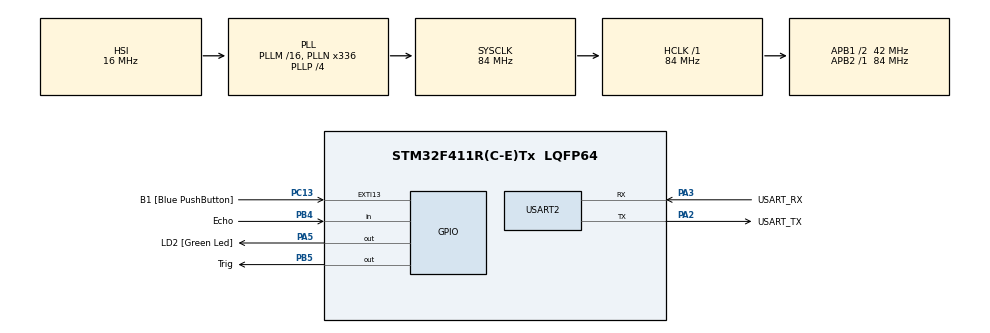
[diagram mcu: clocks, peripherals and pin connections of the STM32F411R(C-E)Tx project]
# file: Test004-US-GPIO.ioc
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Mcu.Family=STM32F4
Mcu.Name=STM32F411R(C-E)Tx
Mcu.Package=LQFP64
NVIC.PriorityGroup=NVIC_PRIORITYGROUP_0
PA13.GPIO_Label=TMS
PA13.Mode=Serial_Wire
PA13.Signal=SYS_JTMS-SWDIO
PA14.GPIO_Label=TCK
PA14.Mode=Serial_Wire
PA14.Signal=SYS_JTCK-SWCLK
PA2.GPIO_Label=USART_TX
PA2.Mode=Asynchronous
PA2.Signal=USART2_TX
PA3.GPIO_Label=USART_RX
PA3.Mode=Asynchronous
PA3.Signal=USART2_RX
PA5.GPIO_Label=LD2 [Green Led]
PA5.Signal=GPIO_Output
PB3.GPIO_Label=SWO
PB3.Signal=SYS_JTDO-SWO
PB4.GPIO_Label=Echo
PB4.Signal=GPIO_Input
PB5.GPIO_Label=Trig
PB5.Signal=GPIO_Output
PC13-ANTI_TAMP.GPIO_Label=B1 [Blue PushButton]
PC13-ANTI_TAMP.GPIO_ModeDefaultEXTI=GPIO_MODE_IT_FALLING
PC13-ANTI_TAMP.Signal=GPXTI13
PC14-OSC32_IN.Mode=LSE-External-Oscillator
PC14-OSC32_IN.Signal=RCC_OSC32_IN
PC15-OSC32_OUT.Mode=LSE-External-Oscillator
PC15-OSC32_OUT.Signal=RCC_OSC32_OUT
PH0\ -\ OSC_IN.Mode=HSE-External-Clock-Source
PH0\ -\ OSC_IN.Signal=RCC_OSC_IN
PH1\ -\ OSC_OUT.Mode=HSE-External-Clock-Source
PH1\ -\ OSC_OUT.Signal=RCC_OSC_OUT
ProjectManager.HeapSize=0x200
ProjectManager.StackSize=0x400
ProjectManager.TargetToolchain=STM32CubeIDE
RCC.48MHZClocksFreq_Value=84000000
RCC.AHBFreq_Value=84000000
RCC.APB1CLKDivider=RCC_HCLK_DIV2
RCC.APB1Freq_Value=42000000
RCC.APB1TimFreq_Value=84000000
RCC.APB2Freq_Value=84000000
RCC.APB2TimFreq_Value=84000000
RCC.CortexFreq_Value=84000000
RCC.FLatency-AdvancedSettings=FLASH_LATENCY_2
RCC.HCLKFreq_Value=84000000
RCC.HSE_VALUE=8000000
RCC.HSI_VALUE=16000000
RCC.PLLN=336
RCC.PLLP=RCC_PLLP_DIV4
RCC.SYSCLKFreq_VALUE=84000000
RCC.SYSCLKSource=RCC_SYSCLKSOURCE_PLLCLK
RCC.VCOOutputFreq_Value=336000000
TIM5.Prescaler=84-1
USART2.VirtualMode=VM_ASYNC
VP_TIM5_VS_ClockSourceINT.Mode=Internal
board=NUCLEO-F411RE

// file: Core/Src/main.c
/* USER CODE BEGIN Header */
/**
  ******************************************************************************
  * @file           : main.c
  * @brief          : Main program body
  ******************************************************************************
  * @attention
  *
  * Copyright (c) 2024 STMicroelectronics.
  * All rights reserved.
  *
  * This software is licensed under terms that can be found in the LICENSE file
  * in the root directory of this software component.
  * If no LICENSE file comes with this software, it is provided AS-IS.
  *
  ******************************************************************************
  */
/* USER CODE END Header */
#include "main.h"

TIM_HandleTypeDef htim5;

UART_HandleTypeDef huart2;

void SystemClock_Config(void);
static void MX_GPIO_Init(void);
static void MX_USART2_UART_Init(void);
static void MX_TIM5_Init(void);

/* USER CODE BEGIN 0 */
void microDelay(int us)
{
	/*int t1 = htim5.Instance->CNT;
	//while(1)
	//{
	//	int tmp_us = htim5.Instance->CNT - t1; // 경과?���???????
	//	if(tmp_us > us) break;
	//}
	while((htim5.Instance->CNT - t1) < us);*/

	htim5.Instance->CNT = 0;
	while(htim5.Instance->CNT < us);
}

void Trigger()
{
	// Trigger Signal
	HAL_GPIO_WritePin(Trig_GPIO_Port, Trig_Pin, 1);
	microDelay(10);  // 10us delay
	HAL_GPIO_WritePin(Trig_GPIO_Port, Trig_Pin, 0);
	microDelay(20);  // 20us delay
}
double Distance()
{
	Trigger();
	// Wait until Echo Rising_Edge
	while(HAL_GPIO_ReadPin(Echo_GPIO_Port, Echo_Pin) != 1);
	int t1 = htim5.Instance->CNT;
	//  Wait until Echo Falling_Edge
	while(HAL_GPIO_ReadPin(Echo_GPIO_Port, Echo_Pin) != 0);
	int t2 = htim5.Instance->CNT;
	double dist = (t2 - t1) * (0.000170); // meter

	return dist;
}
/* USER CODE END 0 */

int main(void)
{

  /* MCU Configuration--------------------------------------------------------*/

  /* Reset of all peripherals, Initializes the Flash interface and the Systick. */
  HAL_Init();

  /* Configure the system clock */
  SystemClock_Config();

  /* Initialize all configured peripherals */
  MX_GPIO_Init();
  MX_USART2_UART_Init();
  MX_TIM5_Init();
  /* USER CODE BEGIN 2 */

  printf("i:%d l:%d f:%d d:%d\n",sizeof(int),sizeof(long),sizeof(float),sizeof(double));
  ProgramStart("Ultra Sonic GPIO");
  HAL_TIM_Base_Start(&htim5);
  /* USER CODE END 2 */

  /* Infinite loop */
  while (1)
  {

    /* USER CODE BEGIN 3 */
	  double d = Distance() * 100;
	  printf("\033[?25l\n");  // cursor off
	  printf("\033[10;10f\033#3Distance : %.2f cm    ", d);  // upper half
	  printf("\033[11;10f\033#4Distance : %.2f cm    \033[9;10H\n", d); // Lower
	  //microDelay(100000); // 10ms
	  HAL_Delay(100);
  }
  /* USER CODE END 3 */
}

void SystemClock_Config(void)
{
  RCC_OscInitTypeDef RCC_OscInitStruct = {0};
  RCC_ClkInitTypeDef RCC_ClkInitStruct = {0};

  /** Configure the main internal regulator output voltage
  */
  __HAL_RCC_PWR_CLK_ENABLE();
  __HAL_PWR_VOLTAGESCALING_CONFIG(PWR_REGULATOR_VOLTAGE_SCALE1);

  /** Initializes the RCC Oscillators according to the specified parameters
  * in the RCC_OscInitTypeDef structure.
  */
  RCC_OscInitStruct.OscillatorType = RCC_OSCILLATORTYPE_HSI;
  RCC_OscInitStruct.HSIState = RCC_HSI_ON;
  RCC_OscInitStruct.HSICalibrationValue = RCC_HSICALIBRATION_DEFAULT;
  RCC_OscInitStruct.PLL.PLLState = RCC_PLL_ON;
  RCC_OscInitStruct.PLL.PLLSource = RCC_PLLSOURCE_HSI;
  RCC_OscInitStruct.PLL.PLLM = 16;
  RCC_OscInitStruct.PLL.PLLN = 336;
  RCC_OscInitStruct.PLL.PLLP = RCC_PLLP_DIV4;
  RCC_OscInitStruct.PLL.PLLQ = 4;
  if (HAL_RCC_OscConfig(&RCC_OscInitStruct) != HAL_OK)
  {
    Error_Handler();
  }

  /** Initializes the CPU, AHB and APB buses clocks
  */
  RCC_ClkInitStruct.ClockType = RCC_CLOCKTYPE_HCLK|RCC_CLOCKTYPE_SYSCLK
                              |RCC_CLOCKTYPE_PCLK1|RCC_CLOCKTYPE_PCLK2;
  RCC_ClkInitStruct.SYSCLKSource = RCC_SYSCLKSOURCE_PLLCLK;
  RCC_ClkInitStruct.AHBCLKDivider = RCC_SYSCLK_DIV1;
  RCC_ClkInitStruct.APB1CLKDivider = RCC_HCLK_DIV2;
  RCC_ClkInitStruct.APB2CLKDivider = RCC_HCLK_DIV1;

  if (HAL_RCC_ClockConfig(&RCC_ClkInitStruct, FLASH_LATENCY_2) != HAL_OK)
  {
    Error_Handler();
  }
}

static void MX_TIM5_Init(void)
{

  TIM_ClockConfigTypeDef sClockSourceConfig = {0};
  TIM_MasterConfigTypeDef sMasterConfig = {0};

  htim5.Instance = TIM5;
  htim5.Init.Prescaler = 84-1;
  htim5.Init.CounterMode = TIM_COUNTERMODE_UP;
  htim5.Init.Period = 4294967295;
  htim5.Init.ClockDivision = TIM_CLOCKDIVISION_DIV1;
  htim5.Init.AutoReloadPreload = TIM_AUTORELOAD_PRELOAD_DISABLE;
  if (HAL_TIM_Base_Init(&htim5) != HAL_OK)
  {
    Error_Handler();
  }
  sClockSourceConfig.ClockSource = TIM_CLOCKSOURCE_INTERNAL;
  if (HAL_TIM_ConfigClockSource(&htim5, &sClockSourceConfig) != HAL_OK)
  {
    Error_Handler();
  }
  sMasterConfig.MasterOutputTrigger = TIM_TRGO_RESET;
  sMasterConfig.MasterSlaveMode = TIM_MASTERSLAVEMODE_DISABLE;
  if (HAL_TIMEx_MasterConfigSynchronization(&htim5, &sMasterConfig) != HAL_OK)
  {
    Error_Handler();
  }

}

static void MX_USART2_UART_Init(void)
{

  huart2.Instance = USART2;
  huart2.Init.BaudRate = 115200;
  huart2.Init.WordLength = UART_WORDLENGTH_8B;
  huart2.Init.StopBits = UART_STOPBITS_1;
  huart2.Init.Parity = UART_PARITY_NONE;
  huart2.Init.Mode = UART_MODE_TX_RX;
  huart2.Init.HwFlowCtl = UART_HWCONTROL_NONE;
  huart2.Init.OverSampling = UART_OVERSAMPLING_16;
  if (HAL_UART_Init(&huart2) != HAL_OK)
  {
    Error_Handler();
  }

}

static void MX_GPIO_Init(void)
{
  GPIO_InitTypeDef GPIO_InitStruct = {0};

  /* GPIO Ports Clock Enable */
  __HAL_RCC_GPIOC_CLK_ENABLE();
  __HAL_RCC_GPIOH_CLK_ENABLE();
  __HAL_RCC_GPIOA_CLK_ENABLE();
  __HAL_RCC_GPIOB_CLK_ENABLE();

  /*Configure GPIO pin Output Level */
  HAL_GPIO_WritePin(LD2_GPIO_Port, LD2_Pin, GPIO_PIN_RESET);

  /*Configure GPIO pin Output Level */
  HAL_GPIO_WritePin(Trig_GPIO_Port, Trig_Pin, GPIO_PIN_RESET);

  /*Configure GPIO pin : B1_Pin */
  GPIO_InitStruct.Pin = B1_Pin;
  GPIO_InitStruct.Mode = GPIO_MODE_IT_FALLING;
  GPIO_InitStruct.Pull = GPIO_NOPULL;
  HAL_GPIO_Init(B1_GPIO_Port, &GPIO_InitStruct);

  /*Configure GPIO pin : LD2_Pin */
  GPIO_InitStruct.Pin = LD2_Pin;
  GPIO_InitStruct.Mode = GPIO_MODE_OUTPUT_PP;
  GPIO_InitStruct.Pull = GPIO_NOPULL;
  GPIO_InitStruct.Speed = GPIO_SPEED_FREQ_LOW;
  HAL_GPIO_Init(LD2_GPIO_Port, &GPIO_InitStruct);

  /*Configure GPIO pin : Echo_Pin */
  GPIO_InitStruct.Pin = Echo_Pin;
  GPIO_InitStruct.Mode = GPIO_MODE_INPUT;
  GPIO_InitStruct.Pull = GPIO_NOPULL;
  HAL_GPIO_Init(Echo_GPIO_Port, &GPIO_InitStruct);

  /*Configure GPIO pin : Trig_Pin */
  GPIO_InitStruct.Pin = Trig_Pin;
  GPIO_InitStruct.Mode = GPIO_MODE_OUTPUT_PP;
  GPIO_InitStruct.Pull = GPIO_NOPULL;
  GPIO_InitStruct.Speed = GPIO_SPEED_FREQ_LOW;
  HAL_GPIO_Init(Trig_GPIO_Port, &GPIO_InitStruct);

}

void Error_Handler(void)
{
  __disable_irq();
  while (1)
  {
  }
}
